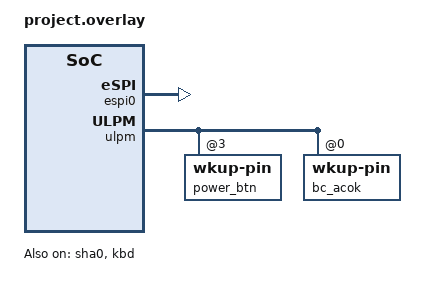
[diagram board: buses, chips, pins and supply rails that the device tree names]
/* Copyright 2025 The ChromiumOS Authors
 * Use of this source code is governed by a BSD-style license that can be
 * found in the LICENSE file.
 */

/* ocelot program common DTS includes */

#include <cros/integrated_fwid.dtsi>

/* ocelotrvp-rtk program common DTS includes */

#include "gpio.dtsi"
#include "i2c.dtsi"
#include "power_signals.dtsi"
#include "../rvp_keyboard.dtsi"
#include "../rvp_battery.dtsi"
#include "../rvp_interrupts.dtsi"
#include "../rvp_ioex_gpio.dtsi"
#include "../rvp_usbc.dtsi"

/ {
	chosen {
		cros-ec,keyboard = &kbd;
	};
};

&espi0 {
	status = "okay";
};

&sha0 {
	status = "okay";
};

&usbc_port0 {
	pdc = <&pdc_rtk_c0>;
};
&usbc_port1 {
	pdc = <&pdc_rtk_c1>;
};

/* Enabe nodes once b/458003667 is fixed. */
/delete-node/ &pdc_ti_c0;
/delete-node/ &pdc_ti_c1;
/delete-node/ &kblight;

&pdc_rtk_c0 {
	irq-gpios = <&gpiob 11 GPIO_ACTIVE_LOW>;
	/* Add property once b/458003667 is fixed. */
	/delete-property/ zephyr,deferred-init;
};
&pdc_rtk_c1 {
	irq-gpios = <&gpiob 11 GPIO_ACTIVE_LOW>;
	/* Add property once b/458003667 is fixed. */
	/delete-property/ zephyr,deferred-init;
};

&ulpm {
	status = "okay";
	power_btn: wkup-pin@3 {
		wkup-pin-mode = "vin";
		wkup-pin-pol = "falling";
	};
	bc_acok: wkup-pin@0 {
		wkup-pin-mode = "vin";
	};
};

&kbd {
	status = "okay";
	pinctrl-0 = <
		&ksi0_gpio064
		&ksi1_gpio065
		&ksi2_gpio066
		&ksi3_gpio067
		&ksi4_gpio068
		&ksi5_gpio069
		&ksi6_gpio070
		&ksi7_gpio071
		&kso0_gpio041
		&kso1_gpio042
		&kso2_gpio043
		&kso3_gpio044
		&kso4_gpio045
		&kso5_gpio046
		&kso6_gpio047
		&kso7_gpio048
		&kso8_gpio049
		&kso9_gpio050
		&kso10_gpio051
		&kso11_gpio055
		&kso12_gpio056
		&kso13_gpio057
		&kso14_gpio058
		&kso15_gpio059
		&kso16_gpio060
		&kso17_gpio061
	>;
	row-size = <8>;
	col-size = <18>;
	settle-time-us = <80>;
	pinctrl-1 = <
		&kso0_sleep_gpio041
		&kso1_sleep_gpio042
		&kso2_sleep_gpio043
		&kso3_sleep_gpio044
		&kso4_sleep_gpio045
		&kso5_sleep_gpio046
		&kso6_sleep_gpio047
		&kso7_sleep_gpio048
		&kso8_sleep_gpio049
		&kso9_sleep_gpio050
		&kso10_sleep_gpio051
		&kso11_sleep_gpio055
		&kso12_sleep_gpio056
		&kso13_sleep_gpio057
		&kso14_sleep_gpio058
		&kso15_sleep_gpio059
		&ksi0_gpio064
		&ksi1_gpio065
		&ksi2_gpio066
		&ksi3_gpio067
		&ksi4_gpio068
		&ksi5_gpio069
		&ksi6_gpio070
		&ksi7_gpio071
	>;
	pinctrl-names = "default", "sleep";
};
